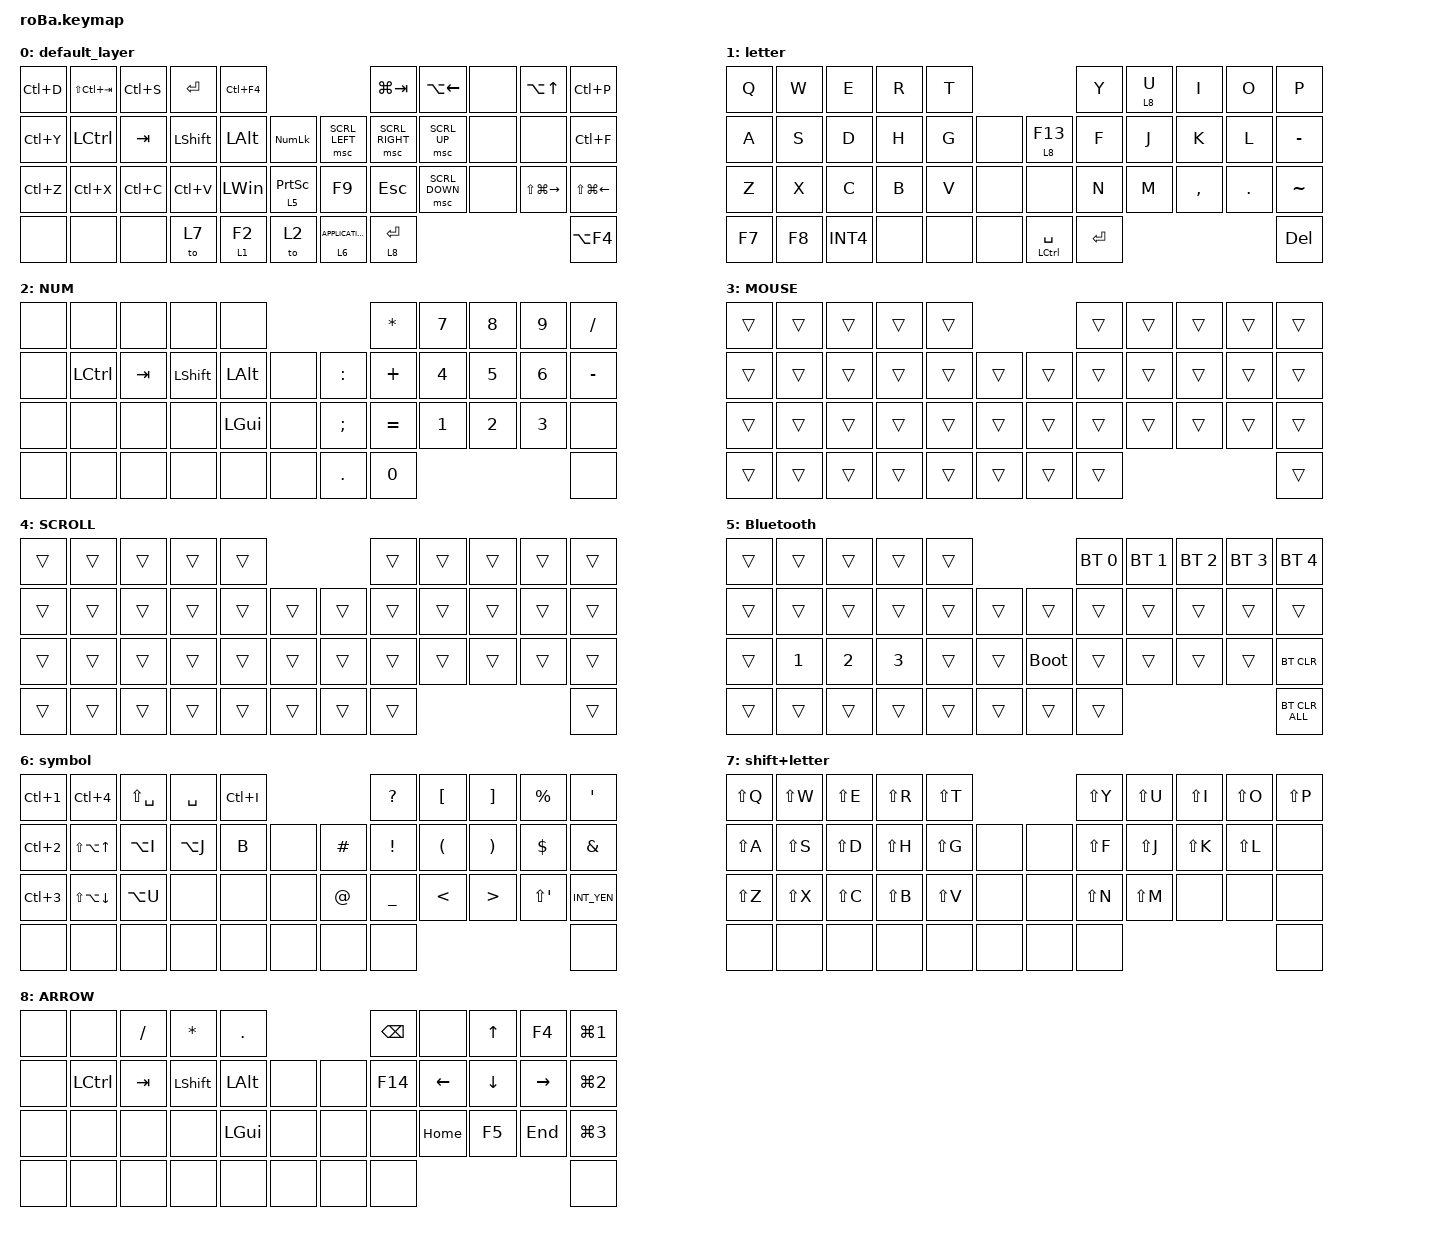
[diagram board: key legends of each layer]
#include <behaviors.dtsi>
#include <dt-bindings/zmk/bt.h>
#include <dt-bindings/zmk/keys.h>
#include <dt-bindings/zmk/pointing.h>

&mt {
    flavor = "balanced";
    quick-tap-ms = <0>;
};

&trackball {
    automouse-layer = <4>;
    scroll-layers = <5>;

    // arrows {
    //     layers = <3>;
    //     bindings =
    //         <&kp RIGHT_ARROW>,
    //         <&kp LEFT_ARROW>,
    //         <&kp UP_ARROW>,
    //         <&kp DOWN_ARROW>;
    //     tick = <10>;
    //     wait-ms = <5>;
    //     tap-ms = <5>;
    // };
};

/ {
    combos { compatible = "zmk,combos"; };

    macros {
        to_layer_0: to_layer_0 {
            compatible = "zmk,behavior-macro-one-param";
            #binding-cells = <1>;
            bindings = <&to 0 &macro_param_1to1 &kp MACRO_PLACEHOLDER>;
            label = "TO_LAYER_0";
        };
    };

    behaviors {
        lt_to_layer_0: lt_to_layer_0 {
            compatible = "zmk,behavior-hold-tap";
            label = "LAYER_TAP_TO_0";
            bindings = <&mo>, <&to_layer_0>;

            #binding-cells = <2>;
            tapping-term-ms = <200>;
        };
    };

    keymap {
        compatible = "zmk,keymap";

        default_layer {
            bindings = <
&kp LC(D)  &kp LS(LC(TAB))  &kp LC(S)  &kp ENTER       &kp LC(F4)                                                &kp LG(TAB)      &kp LA(LEFT)    &none  &kp LA(UP_ARROW)   &kp LC(P)
&kp LC(Y)  &kp LCTRL        &kp TAB    &kp LEFT_SHIFT  &kp LEFT_ALT  &kp KP_NUMLOCK         &msc SCRL_LEFT       &msc SCRL_RIGHT  &msc SCRL_UP    &none  &none              &kp LC(F)
&kp LC(Z)  &kp LC(X)        &kp LC(C)  &kp LC(V)       &kp LEFT_WIN  &lt 5 PRINTSCREEN      &kp F9               &kp ESCAPE       &msc SCRL_DOWN  &none  &kp LS(LG(RIGHT))  &kp LS(LG(LEFT))
&none      &none            &none      &to 7           &lt 1 F2      &to 2                  &lt 6 K_APPLICATION  &lt 8 ENTER                                                &kp LA(F4)
            >;
        };

        letter {
            bindings = <
&kp Q   &kp W   &kp E     &kp R  &kp T                              &kp Y      &lt 8 U  &kp I      &kp O       &kp P
&kp A   &kp S   &kp D     &kp H  &kp G  &none      &lt 8 F13        &kp F      &kp J    &kp K      &kp L       &kp MINUS
&kp Z   &kp X   &kp C     &kp B  &kp V  &none      &none            &kp N      &kp M    &kp COMMA  &kp PERIOD  &kp TILDE
&kp F7  &kp F8  &kp INT4  &none  &none  &none      &mt LCTRL SPACE  &kp ENTER                                  &kp DELETE
            >;
        };

        NUM {
            bindings = <
&none  &none      &none    &none           &none                               &kp ASTERISK  &kp N7  &kp N8  &kp N9  &kp SLASH
&none  &kp LCTRL  &kp TAB  &kp LEFT_SHIFT  &kp LEFT_ALT  &none      &kp COLON  &kp PLUS      &kp N4  &kp N5  &kp N6  &kp MINUS
&none  &none      &none    &none           &kp LEFT_GUI  &none      &kp SEMI   &kp EQUAL     &kp N1  &kp N2  &kp N3  &none
&none  &none      &none    &none           &none         &none      &kp DOT    &kp N0                                &none
            >;
        };

        MOUSE {
            bindings = <
&trans  &trans  &trans  &trans  &trans                      &trans  &trans  &trans  &trans  &trans
&trans  &trans  &trans  &trans  &trans  &trans      &trans  &trans  &trans  &trans  &trans  &trans
&trans  &trans  &trans  &trans  &trans  &trans      &trans  &trans  &trans  &trans  &trans  &trans
&trans  &trans  &trans  &trans  &trans  &trans      &trans  &trans                          &trans
            >;
        };

        SCROLL {
            bindings = <
&trans  &trans  &trans  &trans  &trans                      &trans  &trans  &trans  &trans  &trans
&trans  &trans  &trans  &trans  &trans  &trans      &trans  &trans  &trans  &trans  &trans  &trans
&trans  &trans  &trans  &trans  &trans  &trans      &trans  &trans  &trans  &trans  &trans  &trans
&trans  &trans  &trans  &trans  &trans  &trans      &trans  &trans                          &trans
            >;
        };

        Bluetooth {
            bindings = <
&trans  &trans        &trans        &trans        &trans                           &bt BT_SEL 0  &bt BT_SEL 1  &bt BT_SEL 2  &bt BT_SEL 3  &bt BT_SEL 4
&trans  &trans        &trans        &trans        &trans  &trans      &trans       &trans        &trans        &trans        &trans        &trans
&trans  &kp NUMBER_1  &kp NUMBER_2  &kp NUMBER_3  &trans  &trans      &bootloader  &trans        &trans        &trans        &trans        &bt BT_CLR
&trans  &trans        &trans        &trans        &trans  &trans      &trans       &trans                                                  &bt BT_CLR_ALL
            >;
        };

        symbol {
            bindings = <
&kp LC(NUMBER_1)  &kp LC(NUMBER_4)      &kp LS(SPACE)  &kp SPACE  &kp LC(I)                          &kp QUESTION     &kp LEFT_BRACKET      &kp RIGHT_BRACKET      &kp PERCENT           &kp APOSTROPHE
&kp LC(NUMBER_2)  &kp LS(LA(UP_ARROW))  &kp LA(I)      &kp LA(J)  &kp B      &none      &kp HASH     &kp EXCLAMATION  &kp LEFT_PARENTHESIS  &kp RIGHT_PARENTHESIS  &kp DOLLAR            &kp AMPERSAND
&kp LC(NUMBER_3)  &kp LS(LA(DOWN))      &kp LA(U)      &none      &none      &none      &kp AT_SIGN  &kp UNDERSCORE   &kp LESS_THAN         &kp GREATER_THAN       &kp LS(SINGLE_QUOTE)  &kp INT_YEN
&none             &none                 &none          &none      &none      &none      &none        &none                                                                               &none
            >;
        };

        shift+letter {
            bindings = <
&kp LS(Q)  &kp LS(W)  &kp LS(E)  &kp LS(R)  &kp LS(T)                    &kp LS(Y)  &kp LS(U)  &kp LS(I)  &kp LS(O)  &kp LS(P)
&kp LS(A)  &kp LS(S)  &kp LS(D)  &kp LS(H)  &kp LS(G)  &none      &none  &kp LS(F)  &kp LS(J)  &kp LS(K)  &kp LS(L)  &none
&kp LS(Z)  &kp LS(X)  &kp LS(C)  &kp LS(B)  &kp LS(V)  &none      &none  &kp LS(N)  &kp LS(M)  &none      &none      &none
&none      &none      &none      &none      &none      &none      &none  &none                                       &none
            >;
        };

        ARROW {
            bindings = <
&none  &none      &kp SLASH  &kp ASTERISK    &kp PERIOD                      &kp BACKSPACE  &none     &kp UP_ARROW  &kp F4     &kp LG(NUMBER_1)
&none  &kp LCTRL  &kp TAB    &kp LEFT_SHIFT  &kp LEFT_ALT  &none      &none  &kp F14        &kp LEFT  &kp DOWN      &kp RIGHT  &kp LG(NUMBER_2)
&none  &none      &none      &none           &kp LEFT_GUI  &none      &none  &none          &kp HOME  &kp F5        &kp END    &kp LG(NUMBER_3)
&none  &none      &none      &none           &none         &none      &none  &none                                             &none
            >;
        };
    };
};
